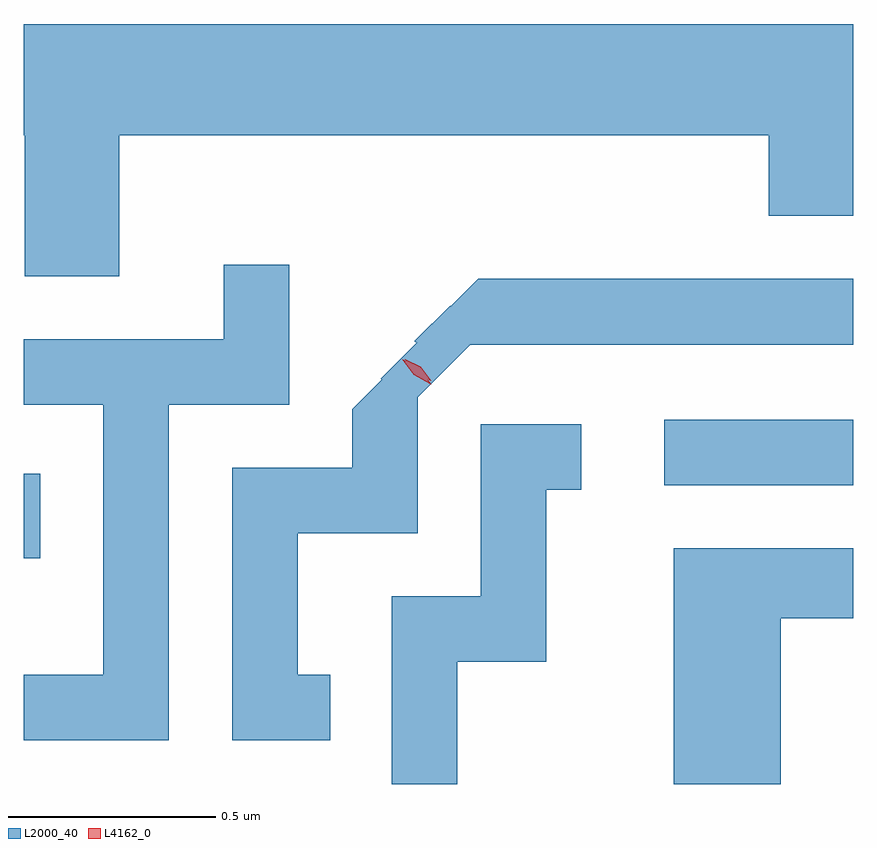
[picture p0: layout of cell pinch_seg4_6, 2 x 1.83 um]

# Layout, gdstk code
import gdstk
lib = gdstk.Library(unit=1e-6, precision=1e-09)
def R(c, l, rs):  # rectangles x0, y0, x1, y1
    for r in rs: c.add(gdstk.rectangle(r[:2], r[2:], *l))
def P(c, l, *ps):  # polygons
    for p in ps: c.add(gdstk.Polygon(p, *l))
L2000_40 = (2000, 40)
L4162_0 = (4162, 0)

pinch_seg4_6 = lib.new_cell('pinch_seg4_6')
R(pinch_seg4_6, L2000_40, [(860.089,1335.896,860.129,1336.099), (861.633,1336.071,862.089,1336.229)])
P(pinch_seg4_6, L2000_40, [(860.319,1336.916),(861.886,1336.916),(861.886,1336.721),(862.089,1336.721),(862.089,1337.184),(860.089,1337.184),(860.089,1336.916),(860.091,1336.916),(860.091,1336.576),(860.319,1336.576)],
  [(860.439,1336.266),(860.729,1336.266),(860.729,1336.603),(860.571,1336.603),(860.571,1336.424),(860.089,1336.424),(860.089,1336.266),(860.281,1336.266),(860.281,1335.614),(860.089,1335.614),(860.089,1335.456),(860.439,1335.456)],
  [(860.828,1335.614),(860.749,1335.614),(860.749,1335.956),(861.039,1335.956),(861.039,1336.284),(861.165,1336.41),(861.265,1336.41),(861.265,1336.411),(862.089,1336.411),(862.089,1336.569),(861.185,1336.569),(861.119,1336.503),(861.117,1336.505),(861.031,1336.419),(861.036,1336.415),(860.95,1336.329),(860.952,1336.326),(860.881,1336.255),(860.881,1336.114),(860.591,1336.114),(860.591,1335.456),(860.828,1335.456)],
  [(861.134,1335.646),(861.349,1335.646),(861.349,1336.061),(861.433,1336.061),(861.433,1336.219),(861.191,1336.219),(861.191,1335.804),(860.976,1335.804),(860.976,1335.351),(861.134,1335.351)],
  [(861.914,1335.751),(862.089,1335.751),(862.089,1335.919),(861.656,1335.919),(861.656,1335.351),(861.914,1335.351)])
P(pinch_seg4_6, L4162_0, [(861.07,1336.315),(861.029,1336.338),(861.001,1336.376),(861.001,1336.376),(861.002,1336.376),(861.043,1336.353),(861.071,1336.315),(861.071,1336.315)],
  [(861.07,1336.323),(861.033,1336.342),(861.008,1336.376),(861.008,1336.376),(861.009,1336.376),(861.046,1336.357),(861.071,1336.323),(861.071,1336.323)])

lib.write_gds('pinch_seg4_6.gds')
